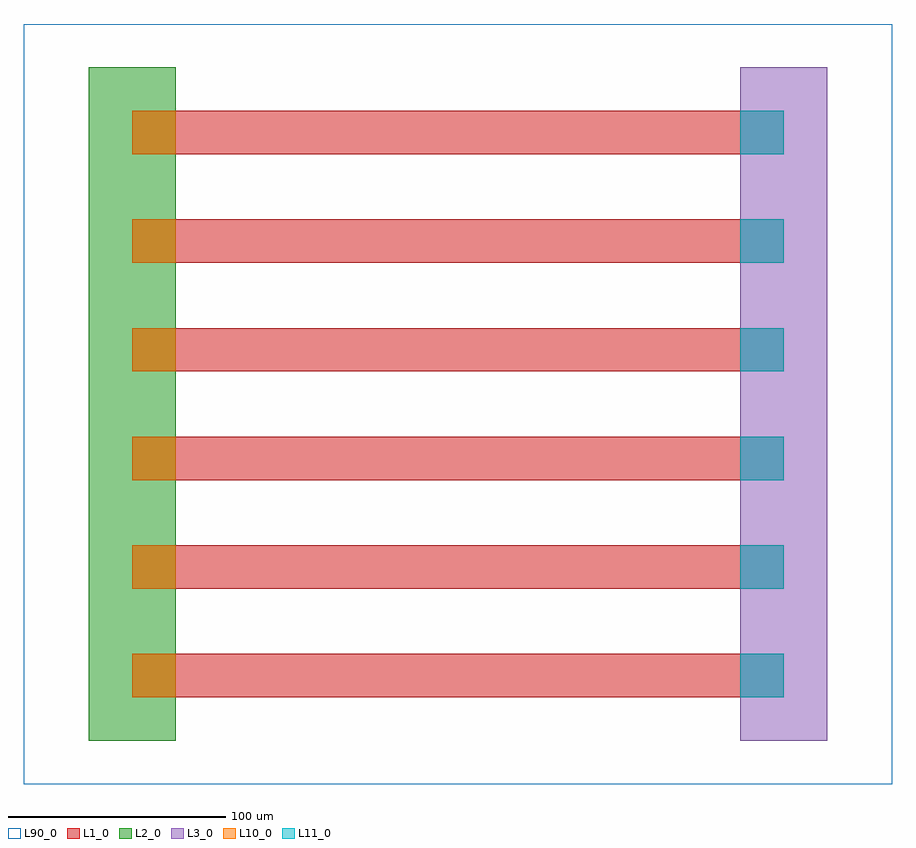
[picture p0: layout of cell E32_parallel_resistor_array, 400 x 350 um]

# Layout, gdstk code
import gdstk
lib = gdstk.Library(unit=1e-6, precision=1e-09)
def R(c, l, rs):  # rectangles x0, y0, x1, y1
    for r in rs: c.add(gdstk.rectangle(r[:2], r[2:], *l))
def A(c, l, x, y, w, h, nx, ny, dx, dy):  # array of equal rectangles
    R(c, l, [(x+i*dx, y+j*dy, x+i*dx+w, y+j*dy+h) for i in range(nx) for j in range(ny)])
L1_0 = (1, 0)
L2_0 = (2, 0)
L3_0 = (3, 0)
L10_0 = (10, 0)
L11_0 = (11, 0)
L90_0 = (90, 0)

e32_parallel_resistor_ar = lib.new_cell('E32_parallel_resistor_array')
A(e32_parallel_resistor_ar, L1_0, 50, 20, 300, 20, 1, 6, 0, 50)
R(e32_parallel_resistor_ar, L2_0, [(30,0,70,310)])
R(e32_parallel_resistor_ar, L3_0, [(330,0,370,310)])
A(e32_parallel_resistor_ar, L10_0, 50, 20, 20, 20, 1, 6, 0, 50)
A(e32_parallel_resistor_ar, L11_0, 330, 20, 20, 20, 1, 6, 0, 50)
R(e32_parallel_resistor_ar, L90_0, [(0,-20,400,330)])

lib.write_gds('E32_parallel_resistor_array.gds')
